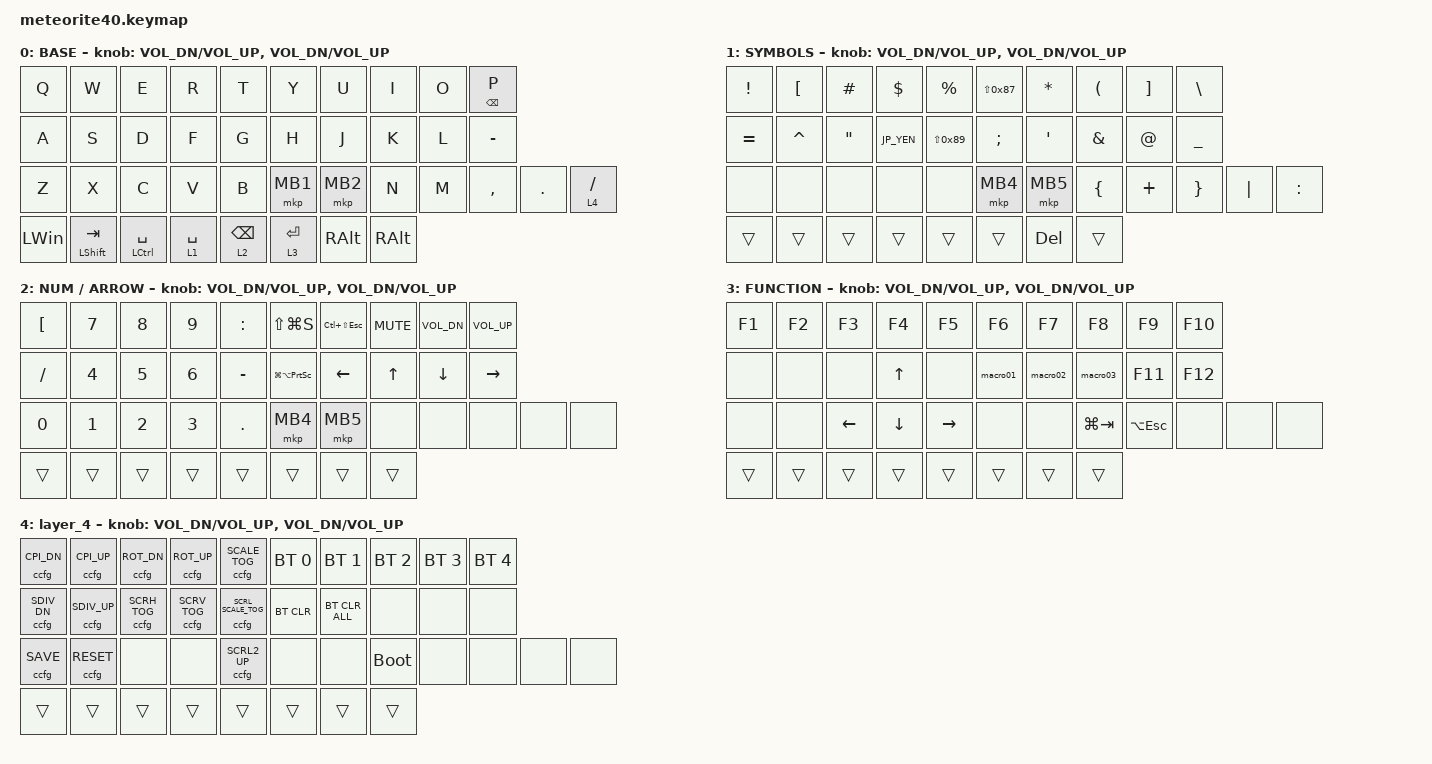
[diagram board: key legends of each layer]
#include <behaviors.dtsi>
#include <dt-bindings/zmk/bt.h>
#include <dt-bindings/zmk/keys.h>
#include "user_macros.dtsi"

#include <behaviors/meteorite_custom_key.dtsi>
#include <behaviors/custom_config.dtsi>
#include <behaviors/meteorite_bt_os.dtsi>
#include <behaviors/meteorite_mod_key.dtsi>
#include <behaviors/meteorite_os_key.dtsi>
#include <behaviors/meteorite_os_macro.dtsi>
#include <behaviors/studio_bt_disc.dtsi>
#include <dt-bindings/zmk/custom_config.h>
#include <dt-bindings/zmk/meteorite_custom_keys.h>
#include <dt-bindings/zmk/meteorite_bt_os.h>

#define ZMK_POINTING_DEFAULT_SCRL_VAL 200
#include <dt-bindings/zmk/pointing.h>

#define JP_DQUOTE       AT                // "
#define JP_AMPERSAND    CARET             // &
#define JP_QUOTE        AMPERSAND         // '
#define JP_EQUAL        UNDER             // =
#define JP_CARET        EQUAL             // ^
#define JP_YEN          0x89              // ¥
#define JP_PLUS         COLON             // +
#define JP_TILDE        PLUS              // ~
#define JP_PIPE         LS(0x89)          // |
#define JP_AT           LEFT_BRACKET      // @
#define JP_COLON        SINGLE_QUOTE      // :
#define JP_ASTERISK     DOUBLE_QUOTES     // *
#define JP_BACKQUOTE    LEFT_BRACE        // `
#define JP_UNDERSCORE   LS(0x87)          // _
#define JP_LBRACKET     RIGHT_BRACKET     // [
#define JP_RBRACKET     BACKSLASH         // ]
#define JP_LPAREN       ASTERISK          // (
#define JP_RPAREN       LEFT_PARENTHESIS  // )
#define JP_LBRACE       RIGHT_BRACE       // {
#define JP_RBRACE       PIPE              // }
#define JP_KANA         LANGUAGE_1        // かな
#define JP_EISU         LANGUAGE_2        // 英数
#define JP_HANZEN       GRAVE             // 半角/全角

&mt { 
    flavor = "tap-preferred"; // change hold to tap
    tapping-term-ms = <200>;
    meteorite-tapping-term-source = "mod-tap";
    quick-tap-ms = <150>; // change 200 to 150
    require-prior-idle-ms = <(-1)>;
};

&lt {
    flavor = "tap-preferred";
    tapping-term-ms = <150>; // change 200 to 150
    meteorite-tapping-term-source = "layer-tap";
    quick-tap-ms = <150>; // change 200 to 150
    require-prior-idle-ms = <(-1)>;
};

/ { 
    behaviors {
        mck_mt: mck_mt {
            compatible = "zmk,behavior-hold-tap";
            #binding-cells = <2>;
            flavor = "tap-preferred";
            tapping-term-ms = <200>;
            meteorite-tapping-term-source = "mod-tap";
            bindings = <&mck>, <&kp>;
            display-name = "meteorite OS-Switch-mod-tap";
        };

        mck_mt_st: mck_mt_st {
            compatible = "zmk,behavior-hold-tap";
            #binding-cells = <2>;
            flavor = "tap-preferred";
            tapping-term-ms = <200>;
            meteorite-tapping-term-source = "mod-tap";
            bindings = <&mck>, <&alt_cmd_tab>;
            display-name = "meteorite OS-Switch-mod-tap (smart toggle)";
        };

        alt_cmd_tab: alt_cmd_tab {
            compatible = "zmk,behavior-smart-toggle";
            #binding-cells = <0>;
            display-name = "meteorite Smart toggle (Alt/Cmd+Tab)";
            bindings = <&mck M_OS_ALT_CMD>, <&kp TAB>;
            position-bindings = <12 13>; /* D, F */
            position-binding-behaviors = <&kp LS(TAB)>, <&kp TAB>;
        };

        enc_msc: encoder_mouse_scroll {
            compatible = "zmk,behavior-sensor-rotate-var";
            #sensor-binding-cells = <2>;
            bindings = <&msc>, <&msc>;
            tap-ms = <25>;
            display-name = "Encoder Mouse Scroll";
        };

        enc_kp: encoder_key_press {
            compatible = "zmk,behavior-sensor-rotate-var";
            #sensor-binding-cells = <2>;
            bindings = <&kp>, <&kp>;
            tap-ms = <25>;
            display-name = "Encoder Key Press";
        };

    };

    combos {
        compatible = "zmk,combos";

        lang1 {
            bindings = <&kp LANG1>;
            key-positions = <12 13>; /* D + F */
            layers = <0>;
        };

        lang2 {
            bindings = <&kp LANG2>;
            key-positions = <16 17>; /* J + K */
            layers = <0>;
        };

        esc {
            bindings = <&kp ESCAPE>;
            key-positions = <20 21>; /* Z + X */
            layers = <0>;
        };

        tab {
            bindings = <&kp TAB>;
            key-positions = <0 1>; /* Q + W */
            layers = <0>;
        };

        line_home {
            bindings = <&mosk HOME LG(LEFT)>;
            key-positions = <16 17>; /* J + K (on layer 2) */
            layers = <2>;
        };

        line_end {
            bindings = <&mosk END LG(RIGHT)>;
            key-positions = <18 19>; /* L + - (on layer 2) */
            layers = <2>;
        };

        doc_home {
            bindings = <&mosk LC(HOME) LG(UP)>;
            key-positions = <16 18>; /* J + L (on layer 2) */
            layers = <2>;
        };

        doc_end {
            bindings = <&mosk LC(END) LG(DOWN)>;
            key-positions = <17 19>; /* K + - (on layer 2) */
            layers = <2>;
        };
    };

    macros {
        macro01: macro01 {
            compatible = "zmk,behavior-macro";
            #binding-cells = <0>;
            bindings = <&kp S &kp U &kp N &kp T &kp A &kp I &kp NUMBER_0 &kp NUMBER_1 &kp TAB>;
            label = "MACRO01";
        };

        macro02: macro02 {
            compatible = "zmk,behavior-macro";
            #binding-cells = <0>;
            bindings = <&kp LS(B) &kp NUMBER_5 &kp NUMBER_5 &kp E &kp NUMBER_5 &kp C &kp B &kp C &kp NUMBER_2 &kp NUMBER_1>;
            label = "MACRO02";
        };

        macro03: macro03 {
            compatible = "zmk,behavior-macro";
            #binding-cells = <0>;
            bindings = <&kp LS(C) &kp N &kp J &kp S &kp T &kp NUMBER_8 &kp NUMBER_8 &kp NUMBER_7 &kp NUMBER_6 &kp NUMBER_5 &kp NUMBER_4 &kp NUMBER_3>;
            label = "MACRO03";
        };
    };

    keymap {
        compatible = "zmk,keymap";
        layout = &LAYOUT_2U_SPACE;

        win_default_layer {
            display-name = "BASE";
            bindings = <
&kp Q     &kp W          &kp E            &kp R        &kp T       &kp Y        &kp U          &kp I     &kp O  &mt BACKSPACE P
&kp A     &kp S          &kp D            &kp F        &kp G       &kp H        &kp J          &kp K     &kp L  &kp MINUS
&kp Z     &kp X          &kp C            &kp V        &kp B       &mkp MB1     &mkp MB2       &kp N     &kp M  &kp COMMA        &kp DOT  &lt 4 SLASH
&kp LWIN  &mt LSHFT TAB  &mt LCTRL SPACE  &lt 1 SPACE  &lt 2 BSPC  &lt 3 ENTER  &kp RIGHT_ALT  &kp RALT
            >;

            sensor-bindings =
                <&enc_kp C_VOL_DN C_VOL_UP>,
                <&enc_kp C_VOL_DN C_VOL_UP>;
        };

        layer_1 {
            display-name = "SYMBOLS";
            bindings = <
&kp EXCL      &kp JP_AT         &kp HASH         &kp DLLR    &kp PRCNT    &kp JP_UNDERSCORE  &kp JP_LPAREN  &kp JP_RPAREN     &kp JP_LBRACKET  &kp JP_RBRACKET
&kp JP_CARET  &kp JP_AMPERSAND  &kp JP_ASTERISK  &kp JP_YEN  &kp JP_PIPE  &kp SEMI           &kp JP_COLON   &kp JP_QUOTE      &kp JP_DQUOTE    &kp JP_EQUAL
&none         &none             &none            &none       &none        &mkp MB4           &mkp MB5       &kp JP_BACKQUOTE  &kp JP_TILDE     &kp JP_LBRACE    &kp JP_RBRACE  &kp JP_PLUS
&trans        &trans            &trans           &trans      &trans       &trans             &kp DEL        &trans
            >;

            sensor-bindings =
                <&enc_kp C_VOL_DN C_VOL_UP>,
                <&enc_kp C_VOL_DN C_VOL_UP>;
        };

        layer_2 {
            display-name = "NUM / ARROW";
            bindings = <
&kp JP_AT  &kp N7  &kp N8  &kp N9  &kp JP_PLUS  &kp LS(LG(S))            &kp LC(LS(ESC))  &kp C_MUTE  &kp C_VOL_DN  &kp C_VOL_UP
&kp SLASH  &kp N4  &kp N5  &kp N6  &kp MINUS    &kp LG(LA(PRINTSCREEN))  &kp LEFT         &kp UP      &kp DOWN      &kp RIGHT
&kp N0     &kp N1  &kp N2  &kp N3  &kp DOT      &mkp MB4                 &mkp MB5         &none       &none         &none         &none  &none
&trans     &trans  &trans  &trans  &trans       &trans                   &trans           &trans
            >;


            sensor-bindings =
                <&enc_kp C_VOL_DN C_VOL_UP>,
                <&enc_kp C_VOL_DN C_VOL_UP>;

        };

        layer_3 {
            display-name = "FUNCTION";
            display-name = "FUNCTION";
            bindings = <
&kp F1  &kp F2  &kp F3    &kp F4    &kp F5     &kp F6    &kp F7    &kp F8       &kp F9       &kp F10
&none   &none   &none     &kp UP    &none      &macro01  &macro02  &macro03     &kp F11      &kp F12
&none   &none   &kp LEFT  &kp DOWN  &kp RIGHT  &none     &none     &kp LG(TAB)  &kp LA(ESC)  &none    &none  &none
&trans  &trans  &trans    &trans    &trans     &trans    &trans    &trans
            >;

            sensor-bindings =
                <&enc_kp C_VOL_DN C_VOL_UP>,
                <&enc_kp C_VOL_DN C_VOL_UP>;

        };
        layer_4 {
			bindings = <
&ccfg C_CPI_DN   &ccfg C_CPI_UP   &ccfg C_ROT_DN    &ccfg C_ROT_UP    &ccfg C_SCALE_TOG       &bt BT_SEL 0  &bt BT_SEL 1    &bt BT_SEL 2  &bt BT_SEL 3  &bt BT_SEL 4
&ccfg C_SDIV_DN  &ccfg C_SDIV_UP  &ccfg C_SCRH_TOG  &ccfg C_SCRV_TOG  &ccfg C_SCRL_SCALE_TOG  &bt BT_CLR    &bt BT_CLR_ALL  &none         &none         &none
&ccfg C_SAVE     &ccfg C_RESET    &none             &none             &ccfg C_SCRL2_UP        &none         &none           &bootloader   &none         &none         &none  &none
&trans           &trans           &trans            &trans            &trans                  &trans        &trans          &trans
            >;

            sensor-bindings =
                <&enc_kp C_VOL_DN C_VOL_UP>,
                <&enc_kp C_VOL_DN C_VOL_UP>;
        };

        layer_5 {
            status = "reserved";
            display-name = "RESERVE 1";
            bindings = <
                &none  &none  &none  &none  &none                  &none  &none  &none  &none  &none
                &none  &none  &none  &none  &none                  &none  &none  &none  &none  &none
                &none  &none  &none  &none  &none  &none  &none  &none  &none  &none  &none  &none
                              &none  &none  &none  &none  &none  &none  &none  &none
            >;

            sensor-bindings =
                <&enc_kp C_VOL_DN C_VOL_UP>,
                <&enc_kp C_VOL_DN C_VOL_UP>;
        };

        layer_6 {
            status = "reserved";
            display-name = "RESERVE 2";
            bindings = <
                &none  &none  &none  &none  &none                  &none  &none  &none  &none  &none
                &none  &none  &none  &none  &none                  &none  &none  &none  &none  &none
                &none  &none  &none  &none  &none  &none  &none  &none  &none  &none  &none  &none
                              &none  &none  &none  &none  &none  &none  &none  &none
            >;

            sensor-bindings =
                <&enc_kp C_VOL_DN C_VOL_UP>,
                <&enc_kp C_VOL_DN C_VOL_UP>;
        };

        layer_7 {
            status = "reserved";
            display-name = "RESERVE 3";
            bindings = <
                &none  &none  &none  &none  &none                  &none  &none  &none  &none  &none
                &none  &none  &none  &none  &none                  &none  &none  &none  &none  &none
                &none  &none  &none  &none  &none  &none  &none  &none  &none  &none  &none  &none
                              &none  &none  &none  &none  &none  &none  &none  &none
            >;

            sensor-bindings =
                <&enc_kp C_VOL_DN C_VOL_UP>,
                <&enc_kp C_VOL_DN C_VOL_UP>;
        };
    };
};
